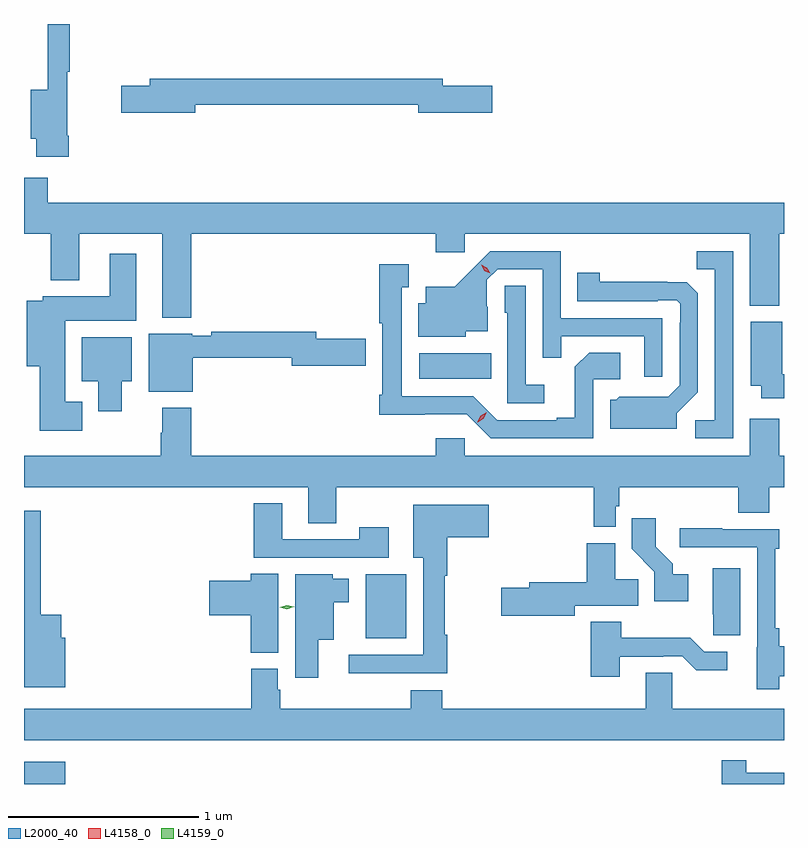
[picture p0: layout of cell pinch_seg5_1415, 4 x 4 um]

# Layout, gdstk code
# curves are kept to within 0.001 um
import gdstk
lib = gdstk.Library(unit=1e-6, precision=1e-09)
def R(c, l, rs):  # rectangles x0, y0, x1, y1
    for r in rs: c.add(gdstk.rectangle(r[:2], r[2:], *l))
def P(c, l, *ps):  # polygons
    for p in ps: c.add(gdstk.Polygon(p, *l))
L2000_40 = (2000, 40)
L4158_0 = (4158, 0)
L4159_0 = (4159, 0)

pinch_seg5_1415 = lib.new_cell('pinch_seg5_1415')
R(pinch_seg5_1415, L2000_40, [(154.167,889.829,154.384,889.945), (155.966,890.597,156.178,890.932), (156.246,891.962,156.626,892.096)])
P(pinch_seg5_1415, L2000_40, [(154.403,893.242),(154.394,893.242),(154.394,893.578),(154.409,893.578),(154.409,893.829),(154.292,893.829),(154.292,893.482),(154.202,893.482),(154.202,893.225),(154.232,893.225),(154.232,893.13),(154.403,893.13)],
  [(155.068,893.404),(156.242,893.404),(156.242,893.362),(156.631,893.362),(156.631,893.504),(156.37,893.504),(156.37,893.54),(154.829,893.54),(154.829,893.504),(154.68,893.504),(154.68,893.362),(155.068,893.362)],
  [(155.048,892.724),(156.335,892.724),(156.335,892.629),(156.486,892.629),(156.486,892.724),(157.988,892.724),(157.988,892.346),(158.141,892.346),(158.141,892.724),(158.167,892.724),(158.167,892.888),(154.292,892.888),(154.292,893.02),(154.167,893.02),(154.167,892.724),(154.307,892.724),(154.307,892.481),(154.459,892.481),(154.459,892.724),(154.895,892.724),(154.895,892.283),(155.048,892.283)],
  [(157.899,892.632),(157.708,892.632),(157.708,892.537),(157.803,892.537),(157.803,891.744),(157.701,891.744),(157.701,891.648),(157.899,891.648)],
  [(157.527,892.281),(156.993,892.281),(156.993,892.632),(156.62,892.632),(156.433,892.447),(156.281,892.447),(156.281,892.36),(156.242,892.36),(156.242,892.184),(156.492,892.184),(156.492,892.211),(156.607,892.211),(156.607,892.34),(156.603,892.34),(156.603,892.482),(156.66,892.539),(156.897,892.539),(156.897,892.072),(156.995,892.072),(156.995,892.185),(157.431,892.185),(157.431,891.972),(157.527,891.972)],
  [(154.474,891.841),(154.384,891.841),(154.384,892.268),(154.759,892.268),(154.759,892.621),(154.619,892.621),(154.619,892.396),(154.266,892.396),(154.266,892.372),(154.181,892.372),(154.181,892.028),(154.25,892.028),(154.25,891.689),(154.474,891.689)],
  [(157.164,891.96),(157.306,891.96),(157.306,892.1),(157.141,892.1),(157.065,892.024),(157.065,891.757),(156.971,891.757),(156.971,891.744),(156.657,891.744),(156.531,891.87),(156.154,891.87),(156.154,892.443),(156.193,892.443),(156.193,892.564),(156.036,892.564),(156.036,892.255),(156.053,892.255),(156.053,891.877),(156.036,891.877),(156.036,891.773),(156.498,891.774),(156.624,891.648),(157.164,891.648)],
  [(157.603,891.78),(157.713,891.89),(157.713,892.412),(157.654,892.471),(157.197,892.472),(157.197,892.519),(157.078,892.519),(157.078,892.371),(157.502,892.371),(157.502,892.374),(157.602,892.374),(157.62,892.356),(157.62,892.256),(157.617,892.256),(157.617,891.927),(157.557,891.867),(157.3,891.868),(157.284,891.852),(157.253,891.852),(157.253,891.698),(157.603,891.698)],
  [(156.904,891.931),(156.807,891.931),(156.807,892.451),(156.696,892.451),(156.696,892.308),(156.711,892.308),(156.711,891.834),(156.904,891.834)],
  [(158.167,891.986),(158.158,891.986),(158.158,892.261),(157.991,892.261),(157.991,891.926),(158.048,891.926),(158.048,891.858),(158.167,891.858)],
  [(155.056,892.072),(155.576,892.072),(155.576,892.03),(155.965,892.03),(155.965,892.172),(155.704,892.172),(155.704,892.208),(155.152,892.208),(155.152,892.188),(155.052,892.188),(155.052,892.198),(154.823,892.198),(154.823,891.893),(155.056,891.893)],
  [(154.681,891.95),(154.735,891.95),(154.735,892.18),(154.472,892.18),(154.472,891.95),(154.559,891.95),(154.559,891.792),(154.681,891.792)],
  [(157.281,891.291),(157.301,891.291),(157.301,891.392),(157.925,891.392),(157.925,891.256),(158.09,891.256),(158.09,891.392),(158.167,891.392),(158.167,891.556),(158.141,891.556),(158.141,891.751),(157.988,891.751),(157.988,891.556),(156.486,891.556),(156.486,891.649),(156.335,891.649),(156.335,891.556),(155.048,891.556),(155.048,891.808),(154.895,891.808),(154.895,891.677),(154.888,891.677),(154.888,891.556),(154.167,891.556),(154.167,891.392),(155.663,891.392),(155.663,891.202),(155.811,891.202),(155.811,891.392),(157.165,891.392),(157.165,891.182),(157.281,891.182)],
  [(156.088,891.181),(155.932,891.181),(155.932,891.117),(155.527,891.117),(155.527,891.307),(155.375,891.307),(155.375,891.021),(156.088,891.021)],
  [(156.395,890.615),(156.382,890.615),(156.382,890.924),(156.395,890.924),(156.395,891.128),(156.613,891.128),(156.613,891.298),(156.215,891.298),(156.215,891.02),(156.269,891.02),(156.269,890.508),(155.877,890.508),(155.877,890.411),(156.395,890.411)],
  [(154.384,890.598),(154.363,890.598),(154.363,890.719),(154.255,890.719),(154.255,891.268),(154.167,891.268),(154.167,890.339),(154.384,890.339)],
  [(157.663,890.932),(157.582,890.932),(157.582,890.987),(157.492,891.077),(157.492,891.229),(157.366,891.229),(157.366,891.066),(157.485,890.947),(157.485,890.792),(157.663,890.792)],
  [(158.141,890.396),(158.167,890.396),(158.167,890.554),(158.141,890.554),(158.141,890.65),(158.121,890.65),(158.121,891.068),(158.141,891.068),(158.141,891.171),(157.841,891.171),(157.841,891.174),(157.617,891.174),(157.617,891.075),(158.025,891.075),(158.025,890.55),(158.024,890.55),(158.024,890.328),(158.141,890.328)],
  [(157.066,890.768),(157.4,890.768),(157.4,890.906),(157.279,890.906),(157.279,891.097),(157.13,891.097),(157.13,890.891),(156.827,890.891),(156.827,890.861),(156.678,890.861),(156.678,890.714),(157.066,890.714)],
  [(157.936,890.965),(157.793,890.965),(157.793,890.722),(157.794,890.722),(157.794,890.611),(157.936,890.611)],
  [(155.506,890.936),(155.36,890.936),(155.36,890.9),(155.142,890.9),(155.142,890.717),(155.36,890.717),(155.36,890.521),(155.506,890.521)],
  [(155.716,890.588),(155.797,890.588),(155.797,890.786),(155.875,890.786),(155.875,890.908),(155.793,890.908),(155.793,890.932),(155.594,890.932),(155.594,890.388),(155.716,890.388)],
  [(157.303,890.499),(157.532,890.499),(157.532,890.502),(157.632,890.502),(157.705,890.429),(157.867,890.429),(157.867,890.526),(157.746,890.526),(157.673,890.599),(157.311,890.599),(157.311,890.683),(157.151,890.683),(157.151,890.394),(157.303,890.394)],
  [(158.167,890.224),(157.578,890.224),(157.578,890.414),(157.439,890.414),(157.439,890.224),(156.368,890.224),(156.368,890.323),(156.203,890.323),(156.203,890.224),(155.516,890.224),(155.516,890.325),(155.503,890.325),(155.503,890.436),(155.363,890.436),(155.363,890.224),(154.167,890.224),(154.167,890.06),(158.167,890.06)],
  [(158.167,889.888),(157.969,889.888),(157.969,889.954),(157.84,889.954),(157.84,889.829),(158.167,889.829)])
P(pinch_seg5_1415, L4158_0, [(156.62,892.516),(156.589,892.531),(156.573,892.561),(156.573,892.561),(156.573,892.561),(156.603,892.546),(156.62,892.516),(156.62,892.516)],
  [(156.553,891.733),(156.553,891.733),(156.571,891.766),(156.603,891.785),(156.603,891.785),(156.603,891.785),(156.585,891.752),(156.554,891.733)])
P(pinch_seg5_1415, L4159_0, [(155.551,890.75),(155.512,890.759),(155.512,890.76),(155.512,890.76),(155.55,890.77),(155.588,890.761),(155.589,890.761),(155.588,890.761)])

lib.write_gds('pinch_seg5_1415.gds')
